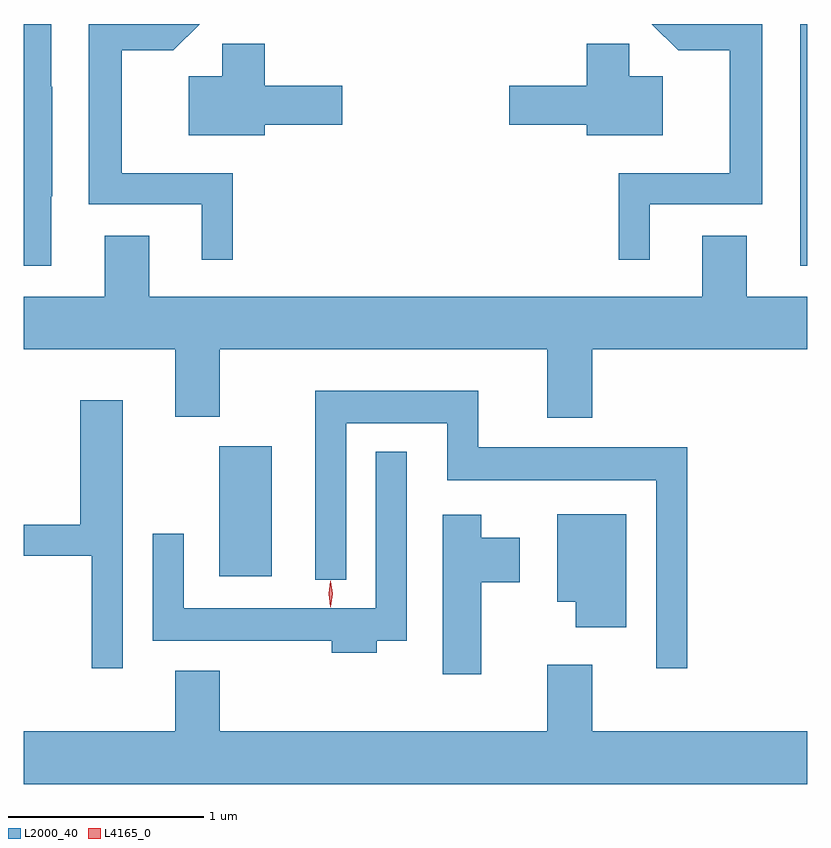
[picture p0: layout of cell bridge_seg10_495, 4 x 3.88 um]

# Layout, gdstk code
import gdstk
lib = gdstk.Library(unit=1e-6, precision=1e-09)
def R(c, l, rs):  # rectangles x0, y0, x1, y1
    for r in rs: c.add(gdstk.rectangle(r[:2], r[2:], *l))
def P(c, l, *ps):  # polygons
    for p in ps: c.add(gdstk.Polygon(p, *l))
L2000_40 = (2000, 40)
L4165_0 = (4165, 0)

bridge_seg10_495 = lib.new_cell('bridge_seg10_495')
R(bridge_seg10_495, L2000_40, [(903.096,2183.796,903.364,2184.459), (906.061,2185.381,906.098,2186.615)])
P(bridge_seg10_495, L2000_40, [(902.239,2185.735),(902.244,2185.735),(902.244,2186.295),(902.239,2186.295),(902.239,2186.615),(902.098,2186.615),(902.098,2185.381),(902.239,2185.381)],
  [(903.164,2185.854),(902.599,2185.854),(902.599,2186.481),(902.862,2186.481),(902.996,2186.615),(902.431,2186.615),(902.431,2185.696),(903.006,2185.696),(903.006,2185.413),(903.164,2185.413)],
  [(905.294,2185.696),(905.869,2185.696),(905.869,2186.615),(905.305,2186.615),(905.439,2186.481),(905.701,2186.481),(905.701,2185.854),(905.136,2185.854),(905.136,2185.413),(905.294,2185.413)],
  [(905.359,2186.349),(905.189,2186.349),(905.189,2186.514),(904.971,2186.514),(904.971,2186.299),(904.576,2186.299),(904.576,2186.101),(904.971,2186.101),(904.971,2186.046),(905.359,2186.046)],
  [(903.329,2186.101),(903.724,2186.101),(903.724,2186.299),(903.329,2186.299),(903.329,2186.514),(903.111,2186.514),(903.111,2186.349),(902.941,2186.349),(902.941,2186.046),(903.329,2186.046)],
  [(904.999,2184.956),(906.098,2184.956),(906.098,2185.224),(905.789,2185.224),(905.789,2185.534),(905.561,2185.534),(905.561,2185.224),(902.739,2185.224),(902.739,2185.534),(902.511,2185.534),(902.511,2185.224),(902.098,2185.224),(902.098,2184.956),(902.871,2184.956),(902.871,2184.611),(903.099,2184.611),(903.099,2184.956),(904.771,2184.956),(904.771,2184.606),(904.999,2184.606)],
  [(905.484,2184.454),(904.419,2184.454),(904.419,2184.744),(903.586,2184.744),(903.586,2183.778),(903.744,2183.778),(903.744,2184.576),(904.261,2184.576),(904.261,2184.286),(905.326,2184.286),(905.326,2183.328),(905.484,2183.328)],
  [(902.604,2184.694),(902.386,2184.694),(902.386,2184.059),(902.098,2184.059),(902.098,2183.901),(902.446,2183.901),(902.446,2183.328),(902.604,2183.328)],
  [(903.899,2183.466),(904.054,2183.466),(904.054,2184.433),(903.896,2184.433),(903.896,2183.634),(902.914,2183.634),(902.914,2184.013),(902.756,2184.013),(902.756,2183.466),(903.671,2183.466),(903.671,2183.406),(903.899,2183.406)],
  [(905.174,2184.114),(904.821,2184.114),(904.821,2183.666),(904.916,2183.666),(904.916,2183.536),(905.174,2183.536)],
  [(904.434,2183.766),(904.629,2183.766),(904.629,2183.994),(904.434,2183.994),(904.434,2184.109),(904.236,2184.109),(904.236,2183.296),(904.434,2183.296)],
  [(906.098,2183.004),(904.999,2183.004),(904.999,2183.344),(904.771,2183.344),(904.771,2183.004),(903.099,2183.004),(903.099,2183.314),(902.871,2183.314),(902.871,2183.004),(902.098,2183.004),(902.098,2182.736),(906.098,2182.736)])
P(bridge_seg10_495, L4165_0, [(903.665,2183.639),(903.664,2183.64),(903.655,2183.706),(903.664,2183.772),(903.665,2183.773),(903.665,2183.772),(903.675,2183.706),(903.665,2183.64)])

lib.write_gds('bridge_seg10_495.gds')
